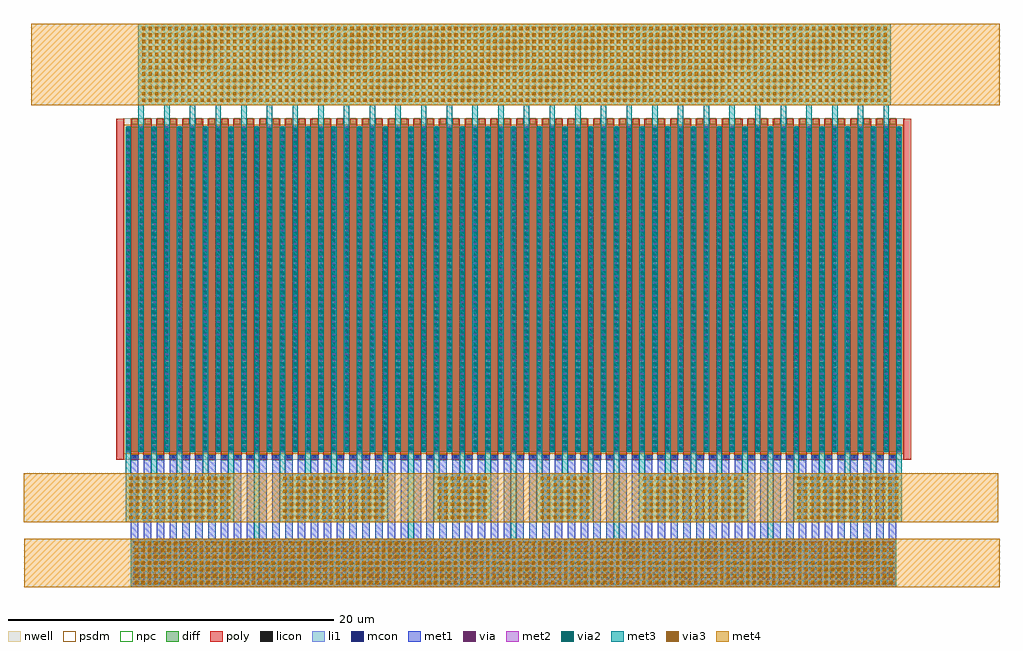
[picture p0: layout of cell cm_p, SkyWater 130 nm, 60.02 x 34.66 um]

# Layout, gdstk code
import gdstk
lib = gdstk.Library(unit=1e-6, precision=1e-09)
def R(c, l, rs):  # rectangles x0, y0, x1, y1
    for r in rs: c.add(gdstk.rectangle(r[:2], r[2:], *l))
def A(c, l, x, y, w, h, nx, ny, dx, dy):  # array of equal rectangles
    R(c, l, [(x+i*dx, y+j*dy, x+i*dx+w, y+j*dy+h) for i in range(nx) for j in range(ny)])
nwell = (64, 20)
diff = (65, 20)
poly = (66, 20)
licon = (66, 44)
li1 = (67, 20)
mcon = (67, 44)
met1 = (68, 20)
via = (68, 44)
met2 = (69, 20)
via2 = (69, 44)
met3 = (70, 20)
via3 = (70, 44)
met4 = (71, 20)
psdm = (94, 20)
npc = (95, 20)

cm_p = lib.new_cell('cm_p')
R(cm_p, nwell, [(0,0,48.05,21)])
R(cm_p, diff, [(0.18,0.5,47.87,20.5)])
A(cm_p, poly, 0.47, 0.015, 0.5, 20.97, 60, 1, 0.79, 0)
R(cm_p, poly, [(-0.42,0.015,0.08,20.985), (47.97,0.015,48.47,20.985)])
A(cm_p, licon, 0.635, 0.095, 0.17, 0.17, 60, 1, 0.79, 0)
A(cm_p, licon, 0.24, 0.725, 0.17, 0.17, 61, 58, 0.79, 0.34)
A(cm_p, li1, 0.47, 0.095, 0.5, 0.17, 60, 1, 0.79, 0)
A(cm_p, li1, 0.24, 0.48, 0.17, 20.04, 61, 1, 0.79, 0)
A(cm_p, mcon, 0.635, 0.095, 0.17, 0.17, 60, 1, 0.79, 0)
A(cm_p, mcon, 0.24, 0.695, 0.17, 0.17, 61, 55, 0.79, 0.36)
A(cm_p, met1, 0.49, -5.984, 0.46, 6.279, 60, 1, 0.79, 0)
A(cm_p, met1, 0.21, 0.5, 0.23, 20, 61, 1, 0.79, 0)
A(cm_p, via, 0.59, -7.685, 0.15, 0.15, 147, 9, 0.32, 0.32)
A(cm_p, via, 0.25, 0.665, 0.15, 0.15, 61, 62, 0.79, 0.32)
A(cm_p, via2, 0.725, -7.63, 0.2, 0.2, 117, 7, 0.4, 0.4)
A(cm_p, via2, 0.225, 0.6, 0.2, 0.2, 61, 50, 0.79, 0.4)
A(cm_p, met3, 0.16, -1.33, 0.33, 1.83, 5, 1, 1.58, 0)
A(cm_p, met3, 9.64, -1.33, 0.33, 1.83, 5, 1, 1.58, 0)
A(cm_p, met3, 19.12, -1.33, 0.33, 1.83, 3, 1, 1.58, 0)
A(cm_p, met3, 25.44, -1.33, 0.33, 1.83, 3, 1, 1.58, 0)
A(cm_p, met3, 31.76, -1.33, 0.33, 1.83, 5, 1, 1.58, 0)
A(cm_p, met3, 41.24, -1.33, 0.33, 1.83, 5, 1, 1.58, 0)
A(cm_p, met3, 0.95, 20.5, 0.33, 1.828, 30, 1, 1.58, 0)
R(cm_p, met3, [(23.86,-7.473,24.19,0.5), (17.54,-7.23,17.87,0.5), (8.06,-7.155,8.39,0.5), (39.66,-7.073,39.99,0.5), (30.18,-6.856,30.51,0.5)])
A(cm_p, via3, 0.725, -7.63, 0.2, 0.2, 117, 7, 0.4, 0.4)
A(cm_p, via3, 0.385, -3.63, 0.2, 0.2, 16, 7, 0.4, 0.4)
A(cm_p, via3, 9.865, -3.63, 0.2, 0.2, 16, 7, 0.4, 0.4)
A(cm_p, via3, 19.365, -3.63, 0.2, 0.2, 8, 7, 0.4, 0.4)
A(cm_p, via3, 25.685, -3.63, 0.2, 0.2, 8, 7, 0.4, 0.4)
A(cm_p, via3, 31.985, -3.63, 0.2, 0.2, 16, 7, 0.4, 0.4)
A(cm_p, via3, 41.465, -3.63, 0.2, 0.2, 16, 7, 0.4, 0.4)
A(cm_p, via3, 1.175, 22.028, 0.2, 0.2, 115, 12, 0.4, 0.4)
R(cm_p, psdm, [(0.055,0.375,47.995,20.625)])
A(cm_p, npc, 0.535, -0.005, 0.37, 0.37, 60, 2, 0.79, 20.64)
cm_p.add(gdstk.FlexPath([(2.695,20.5),(2.695,0.5)], 0.33, ends="flush", simple_path=True, layer=68, datatype=20))  # met1
cm_p.add(gdstk.FlexPath([(4.275,20.5),(4.275,0.5)], 0.33, ends="flush", simple_path=True, layer=68, datatype=20))  # met1
cm_p.add(gdstk.FlexPath([(1.115,20.5),(1.115,0.5)], 0.33, ends="flush", simple_path=True, layer=68, datatype=20))  # met1
cm_p.add(gdstk.FlexPath([(5.855,20.5),(5.855,0.5)], 0.33, ends="flush", simple_path=True, layer=68, datatype=20))  # met1
cm_p.add(gdstk.FlexPath([(7.435,20.5),(7.435,0.5)], 0.33, ends="flush", simple_path=True, layer=68, datatype=20))  # met1
cm_p.add(gdstk.FlexPath([(9.015,20.5),(9.015,0.5)], 0.33, ends="flush", simple_path=True, layer=68, datatype=20))  # met1
cm_p.add(gdstk.FlexPath([(10.595,20.5),(10.595,0.5)], 0.33, ends="flush", simple_path=True, layer=68, datatype=20))  # met1
cm_p.add(gdstk.FlexPath([(12.175,20.5),(12.175,0.5)], 0.33, ends="flush", simple_path=True, layer=68, datatype=20))  # met1
cm_p.add(gdstk.FlexPath([(13.755,20.5),(13.755,0.5)], 0.33, ends="flush", simple_path=True, layer=68, datatype=20))  # met1
cm_p.add(gdstk.FlexPath([(15.335,20.5),(15.335,0.5)], 0.33, ends="flush", simple_path=True, layer=68, datatype=20))  # met1
cm_p.add(gdstk.FlexPath([(16.915,20.5),(16.915,0.5)], 0.33, ends="flush", simple_path=True, layer=68, datatype=20))  # met1
cm_p.add(gdstk.FlexPath([(18.495,20.5),(18.495,0.5)], 0.33, ends="flush", simple_path=True, layer=68, datatype=20))  # met1
cm_p.add(gdstk.FlexPath([(20.075,20.5),(20.075,0.5)], 0.33, ends="flush", simple_path=True, layer=68, datatype=20))  # met1
cm_p.add(gdstk.FlexPath([(21.655,20.5),(21.655,0.5)], 0.33, ends="flush", simple_path=True, layer=68, datatype=20))  # met1
cm_p.add(gdstk.FlexPath([(23.235,20.5),(23.235,0.5)], 0.33, ends="flush", simple_path=True, layer=68, datatype=20))  # met1
cm_p.add(gdstk.FlexPath([(24.815,20.5),(24.815,0.5)], 0.33, ends="flush", simple_path=True, layer=68, datatype=20))  # met1
cm_p.add(gdstk.FlexPath([(26.395,20.5),(26.395,0.5)], 0.33, ends="flush", simple_path=True, layer=68, datatype=20))  # met1
cm_p.add(gdstk.FlexPath([(27.975,20.5),(27.975,0.5)], 0.33, ends="flush", simple_path=True, layer=68, datatype=20))  # met1
cm_p.add(gdstk.FlexPath([(29.555,20.5),(29.555,0.5)], 0.33, ends="flush", simple_path=True, layer=68, datatype=20))  # met1
cm_p.add(gdstk.FlexPath([(31.135,20.5),(31.135,0.5)], 0.33, ends="flush", simple_path=True, layer=68, datatype=20))  # met1
cm_p.add(gdstk.FlexPath([(32.715,20.5),(32.715,0.5)], 0.33, ends="flush", simple_path=True, layer=68, datatype=20))  # met1
cm_p.add(gdstk.FlexPath([(34.295,20.5),(34.295,0.5)], 0.33, ends="flush", simple_path=True, layer=68, datatype=20))  # met1
cm_p.add(gdstk.FlexPath([(35.875,20.5),(35.875,0.5)], 0.33, ends="flush", simple_path=True, layer=68, datatype=20))  # met1
cm_p.add(gdstk.FlexPath([(37.455,20.5),(37.455,0.5)], 0.33, ends="flush", simple_path=True, layer=68, datatype=20))  # met1
cm_p.add(gdstk.FlexPath([(39.035,20.5),(39.035,0.5)], 0.33, ends="flush", simple_path=True, layer=68, datatype=20))  # met1
cm_p.add(gdstk.FlexPath([(40.615,20.5),(40.615,0.5)], 0.33, ends="flush", simple_path=True, layer=68, datatype=20))  # met1
cm_p.add(gdstk.FlexPath([(42.195,20.5),(42.195,0.5)], 0.33, ends="flush", simple_path=True, layer=68, datatype=20))  # met1
cm_p.add(gdstk.FlexPath([(43.775,20.5),(43.775,0.5)], 0.33, ends="flush", simple_path=True, layer=68, datatype=20))  # met1
cm_p.add(gdstk.FlexPath([(45.355,20.5),(45.355,0.5)], 0.33, ends="flush", simple_path=True, layer=68, datatype=20))  # met1
cm_p.add(gdstk.FlexPath([(46.935,20.5),(46.935,0.5)], 0.33, ends="flush", simple_path=True, layer=68, datatype=20))  # met1
cm_p.add(gdstk.FlexPath([(0.325,20.5),(0.325,0.5)], 0.33, ends="flush", simple_path=True, layer=68, datatype=20))  # met1
cm_p.add(gdstk.FlexPath([(1.905,20.5),(1.905,0.5)], 0.33, ends="flush", simple_path=True, layer=68, datatype=20))  # met1
cm_p.add(gdstk.FlexPath([(3.485,20.5),(3.485,0.5)], 0.33, ends="flush", simple_path=True, layer=68, datatype=20))  # met1
cm_p.add(gdstk.FlexPath([(5.065,20.5),(5.065,0.5)], 0.33, ends="flush", simple_path=True, layer=68, datatype=20))  # met1
cm_p.add(gdstk.FlexPath([(6.645,20.5),(6.645,0.5)], 0.33, ends="flush", simple_path=True, layer=68, datatype=20))  # met1
cm_p.add(gdstk.FlexPath([(8.225,20.5),(8.225,0.5)], 0.33, ends="flush", simple_path=True, layer=68, datatype=20))  # met1
cm_p.add(gdstk.FlexPath([(9.805,20.5),(9.805,0.5)], 0.33, ends="flush", simple_path=True, layer=68, datatype=20))  # met1
cm_p.add(gdstk.FlexPath([(11.385,20.5),(11.385,0.5)], 0.33, ends="flush", simple_path=True, layer=68, datatype=20))  # met1
cm_p.add(gdstk.FlexPath([(12.965,20.5),(12.965,0.5)], 0.33, ends="flush", simple_path=True, layer=68, datatype=20))  # met1
cm_p.add(gdstk.FlexPath([(14.545,20.5),(14.545,0.5)], 0.33, ends="flush", simple_path=True, layer=68, datatype=20))  # met1
cm_p.add(gdstk.FlexPath([(16.125,20.5),(16.125,0.5)], 0.33, ends="flush", simple_path=True, layer=68, datatype=20))  # met1
cm_p.add(gdstk.FlexPath([(17.705,20.5),(17.705,0.5)], 0.33, ends="flush", simple_path=True, layer=68, datatype=20))  # met1
cm_p.add(gdstk.FlexPath([(19.285,20.5),(19.285,0.5)], 0.33, ends="flush", simple_path=True, layer=68, datatype=20))  # met1
cm_p.add(gdstk.FlexPath([(20.865,20.5),(20.865,0.5)], 0.33, ends="flush", simple_path=True, layer=68, datatype=20))  # met1
cm_p.add(gdstk.FlexPath([(22.445,20.5),(22.445,0.5)], 0.33, ends="flush", simple_path=True, layer=68, datatype=20))  # met1
cm_p.add(gdstk.FlexPath([(24.025,20.5),(24.025,0.5)], 0.33, ends="flush", simple_path=True, layer=68, datatype=20))  # met1
cm_p.add(gdstk.FlexPath([(25.605,20.5),(25.605,0.5)], 0.33, ends="flush", simple_path=True, layer=68, datatype=20))  # met1
cm_p.add(gdstk.FlexPath([(27.185,20.5),(27.185,0.5)], 0.33, ends="flush", simple_path=True, layer=68, datatype=20))  # met1
cm_p.add(gdstk.FlexPath([(28.765,20.5),(28.765,0.5)], 0.33, ends="flush", simple_path=True, layer=68, datatype=20))  # met1
cm_p.add(gdstk.FlexPath([(30.345,20.5),(30.345,0.5)], 0.33, ends="flush", simple_path=True, layer=68, datatype=20))  # met1
cm_p.add(gdstk.FlexPath([(31.925,20.5),(31.925,0.5)], 0.33, ends="flush", simple_path=True, layer=68, datatype=20))  # met1
cm_p.add(gdstk.FlexPath([(33.505,20.5),(33.505,0.5)], 0.33, ends="flush", simple_path=True, layer=68, datatype=20))  # met1
cm_p.add(gdstk.FlexPath([(35.085,20.5),(35.085,0.5)], 0.33, ends="flush", simple_path=True, layer=68, datatype=20))  # met1
cm_p.add(gdstk.FlexPath([(36.665,20.5),(36.665,0.5)], 0.33, ends="flush", simple_path=True, layer=68, datatype=20))  # met1
cm_p.add(gdstk.FlexPath([(38.245,20.5),(38.245,0.5)], 0.33, ends="flush", simple_path=True, layer=68, datatype=20))  # met1
cm_p.add(gdstk.FlexPath([(39.825,20.5),(39.825,0.5)], 0.33, ends="flush", simple_path=True, layer=68, datatype=20))  # met1
cm_p.add(gdstk.FlexPath([(41.405,20.5),(41.405,0.5)], 0.33, ends="flush", simple_path=True, layer=68, datatype=20))  # met1
cm_p.add(gdstk.FlexPath([(42.985,20.5),(42.985,0.5)], 0.33, ends="flush", simple_path=True, layer=68, datatype=20))  # met1
cm_p.add(gdstk.FlexPath([(44.565,20.5),(44.565,0.5)], 0.33, ends="flush", simple_path=True, layer=68, datatype=20))  # met1
cm_p.add(gdstk.FlexPath([(46.145,20.5),(46.145,0.5)], 0.33, ends="flush", simple_path=True, layer=68, datatype=20))  # met1
cm_p.add(gdstk.FlexPath([(47.725,20.5),(47.725,0.5)], 0.33, ends="flush", simple_path=True, layer=68, datatype=20))  # met1
cm_p.add(gdstk.FlexPath([(0.49,-6.33),(47.56,-6.33)], 3, ends="flush", simple_path=True, layer=68, datatype=20))  # met1
cm_p.add(gdstk.FlexPath([(-5.641,24.328),(53.902,24.328)], 5, ends="flush", simple_path=True, layer=71, datatype=20))  # met4
cm_p.add(gdstk.FlexPath([(0.95,24.328),(47.2,24.328)], 5, ends="flush", simple_path=True, layer=71, datatype=20))  # met4
cm_p.add(gdstk.FlexPath([(-6.119,-2.33),(53.812,-2.33)], 3, ends="flush", simple_path=True, layer=71, datatype=20))  # met4
cm_p.add(gdstk.FlexPath([(0.49,-6.33),(47.56,-6.33)], 3, ends="flush", simple_path=True, layer=71, datatype=20))  # met4
cm_p.add(gdstk.FlexPath([(-6.084,-6.33),(53.902,-6.33)], 3, ends="flush", simple_path=True, layer=71, datatype=20))  # met4
cm_p.add(gdstk.FlexPath([(0.16,-2.33),(6.81,-2.33)], 3, ends="flush", simple_path=True, layer=71, datatype=20))  # met4
cm_p.add(gdstk.FlexPath([(9.64,-2.33),(16.29,-2.33)], 3, ends="flush", simple_path=True, layer=71, datatype=20))  # met4
cm_p.add(gdstk.FlexPath([(19.12,-2.33),(22.61,-2.33)], 3, ends="flush", simple_path=True, layer=71, datatype=20))  # met4
cm_p.add(gdstk.FlexPath([(25.44,-2.33),(28.93,-2.33)], 3, ends="flush", simple_path=True, layer=71, datatype=20))  # met4
cm_p.add(gdstk.FlexPath([(31.76,-2.33),(38.41,-2.33)], 3, ends="flush", simple_path=True, layer=71, datatype=20))  # met4
cm_p.add(gdstk.FlexPath([(41.24,-2.33),(47.89,-2.33)], 3, ends="flush", simple_path=True, layer=71, datatype=20))  # met4
cm_p.add(gdstk.FlexPath([(2.695,20.5),(2.695,0.5)], 0.33, ends="flush", simple_path=True, layer=69, datatype=20))  # met2
cm_p.add(gdstk.FlexPath([(4.275,20.5),(4.275,0.5)], 0.33, ends="flush", simple_path=True, layer=69, datatype=20))  # met2
cm_p.add(gdstk.FlexPath([(1.115,20.5),(1.115,0.5)], 0.33, ends="flush", simple_path=True, layer=69, datatype=20))  # met2
cm_p.add(gdstk.FlexPath([(5.855,20.5),(5.855,0.5)], 0.33, ends="flush", simple_path=True, layer=69, datatype=20))  # met2
cm_p.add(gdstk.FlexPath([(7.435,20.5),(7.435,0.5)], 0.33, ends="flush", simple_path=True, layer=69, datatype=20))  # met2
cm_p.add(gdstk.FlexPath([(9.015,20.5),(9.015,0.5)], 0.33, ends="flush", simple_path=True, layer=69, datatype=20))  # met2
cm_p.add(gdstk.FlexPath([(10.595,20.5),(10.595,0.5)], 0.33, ends="flush", simple_path=True, layer=69, datatype=20))  # met2
cm_p.add(gdstk.FlexPath([(12.175,20.5),(12.175,0.5)], 0.33, ends="flush", simple_path=True, layer=69, datatype=20))  # met2
cm_p.add(gdstk.FlexPath([(13.755,20.5),(13.755,0.5)], 0.33, ends="flush", simple_path=True, layer=69, datatype=20))  # met2
cm_p.add(gdstk.FlexPath([(15.335,20.5),(15.335,0.5)], 0.33, ends="flush", simple_path=True, layer=69, datatype=20))  # met2
cm_p.add(gdstk.FlexPath([(16.915,20.5),(16.915,0.5)], 0.33, ends="flush", simple_path=True, layer=69, datatype=20))  # met2
cm_p.add(gdstk.FlexPath([(18.495,20.5),(18.495,0.5)], 0.33, ends="flush", simple_path=True, layer=69, datatype=20))  # met2
cm_p.add(gdstk.FlexPath([(20.075,20.5),(20.075,0.5)], 0.33, ends="flush", simple_path=True, layer=69, datatype=20))  # met2
cm_p.add(gdstk.FlexPath([(21.655,20.5),(21.655,0.5)], 0.33, ends="flush", simple_path=True, layer=69, datatype=20))  # met2
cm_p.add(gdstk.FlexPath([(23.235,20.5),(23.235,0.5)], 0.33, ends="flush", simple_path=True, layer=69, datatype=20))  # met2
cm_p.add(gdstk.FlexPath([(24.815,20.5),(24.815,0.5)], 0.33, ends="flush", simple_path=True, layer=69, datatype=20))  # met2
cm_p.add(gdstk.FlexPath([(26.395,20.5),(26.395,0.5)], 0.33, ends="flush", simple_path=True, layer=69, datatype=20))  # met2
cm_p.add(gdstk.FlexPath([(27.975,20.5),(27.975,0.5)], 0.33, ends="flush", simple_path=True, layer=69, datatype=20))  # met2
cm_p.add(gdstk.FlexPath([(29.555,20.5),(29.555,0.5)], 0.33, ends="flush", simple_path=True, layer=69, datatype=20))  # met2
cm_p.add(gdstk.FlexPath([(31.135,20.5),(31.135,0.5)], 0.33, ends="flush", simple_path=True, layer=69, datatype=20))  # met2
cm_p.add(gdstk.FlexPath([(32.715,20.5),(32.715,0.5)], 0.33, ends="flush", simple_path=True, layer=69, datatype=20))  # met2
cm_p.add(gdstk.FlexPath([(34.295,20.5),(34.295,0.5)], 0.33, ends="flush", simple_path=True, layer=69, datatype=20))  # met2
cm_p.add(gdstk.FlexPath([(35.875,20.5),(35.875,0.5)], 0.33, ends="flush", simple_path=True, layer=69, datatype=20))  # met2
cm_p.add(gdstk.FlexPath([(37.455,20.5),(37.455,0.5)], 0.33, ends="flush", simple_path=True, layer=69, datatype=20))  # met2
cm_p.add(gdstk.FlexPath([(39.035,20.5),(39.035,0.5)], 0.33, ends="flush", simple_path=True, layer=69, datatype=20))  # met2
cm_p.add(gdstk.FlexPath([(40.615,20.5),(40.615,0.5)], 0.33, ends="flush", simple_path=True, layer=69, datatype=20))  # met2
cm_p.add(gdstk.FlexPath([(42.195,20.5),(42.195,0.5)], 0.33, ends="flush", simple_path=True, layer=69, datatype=20))  # met2
cm_p.add(gdstk.FlexPath([(43.775,20.5),(43.775,0.5)], 0.33, ends="flush", simple_path=True, layer=69, datatype=20))  # met2
cm_p.add(gdstk.FlexPath([(45.355,20.5),(45.355,0.5)], 0.33, ends="flush", simple_path=True, layer=69, datatype=20))  # met2
cm_p.add(gdstk.FlexPath([(46.935,20.5),(46.935,0.5)], 0.33, ends="flush", simple_path=True, layer=69, datatype=20))  # met2
cm_p.add(gdstk.FlexPath([(0.325,20.5),(0.325,0.5)], 0.33, ends="flush", simple_path=True, layer=69, datatype=20))  # met2
cm_p.add(gdstk.FlexPath([(1.905,20.5),(1.905,0.5)], 0.33, ends="flush", simple_path=True, layer=69, datatype=20))  # met2
cm_p.add(gdstk.FlexPath([(3.485,20.5),(3.485,0.5)], 0.33, ends="flush", simple_path=True, layer=69, datatype=20))  # met2
cm_p.add(gdstk.FlexPath([(5.065,20.5),(5.065,0.5)], 0.33, ends="flush", simple_path=True, layer=69, datatype=20))  # met2
cm_p.add(gdstk.FlexPath([(6.645,20.5),(6.645,0.5)], 0.33, ends="flush", simple_path=True, layer=69, datatype=20))  # met2
cm_p.add(gdstk.FlexPath([(8.225,20.5),(8.225,0.5)], 0.33, ends="flush", simple_path=True, layer=69, datatype=20))  # met2
cm_p.add(gdstk.FlexPath([(9.805,20.5),(9.805,0.5)], 0.33, ends="flush", simple_path=True, layer=69, datatype=20))  # met2
cm_p.add(gdstk.FlexPath([(11.385,20.5),(11.385,0.5)], 0.33, ends="flush", simple_path=True, layer=69, datatype=20))  # met2
cm_p.add(gdstk.FlexPath([(12.965,20.5),(12.965,0.5)], 0.33, ends="flush", simple_path=True, layer=69, datatype=20))  # met2
cm_p.add(gdstk.FlexPath([(14.545,20.5),(14.545,0.5)], 0.33, ends="flush", simple_path=True, layer=69, datatype=20))  # met2
cm_p.add(gdstk.FlexPath([(16.125,20.5),(16.125,0.5)], 0.33, ends="flush", simple_path=True, layer=69, datatype=20))  # met2
cm_p.add(gdstk.FlexPath([(17.705,20.5),(17.705,0.5)], 0.33, ends="flush", simple_path=True, layer=69, datatype=20))  # met2
cm_p.add(gdstk.FlexPath([(19.285,20.5),(19.285,0.5)], 0.33, ends="flush", simple_path=True, layer=69, datatype=20))  # met2
cm_p.add(gdstk.FlexPath([(20.865,20.5),(20.865,0.5)], 0.33, ends="flush", simple_path=True, layer=69, datatype=20))  # met2
cm_p.add(gdstk.FlexPath([(22.445,20.5),(22.445,0.5)], 0.33, ends="flush", simple_path=True, layer=69, datatype=20))  # met2
cm_p.add(gdstk.FlexPath([(24.025,20.5),(24.025,0.5)], 0.33, ends="flush", simple_path=True, layer=69, datatype=20))  # met2
cm_p.add(gdstk.FlexPath([(25.605,20.5),(25.605,0.5)], 0.33, ends="flush", simple_path=True, layer=69, datatype=20))  # met2
cm_p.add(gdstk.FlexPath([(27.185,20.5),(27.185,0.5)], 0.33, ends="flush", simple_path=True, layer=69, datatype=20))  # met2
cm_p.add(gdstk.FlexPath([(28.765,20.5),(28.765,0.5)], 0.33, ends="flush", simple_path=True, layer=69, datatype=20))  # met2
cm_p.add(gdstk.FlexPath([(30.345,20.5),(30.345,0.5)], 0.33, ends="flush", simple_path=True, layer=69, datatype=20))  # met2
cm_p.add(gdstk.FlexPath([(31.925,20.5),(31.925,0.5)], 0.33, ends="flush", simple_path=True, layer=69, datatype=20))  # met2
cm_p.add(gdstk.FlexPath([(33.505,20.5),(33.505,0.5)], 0.33, ends="flush", simple_path=True, layer=69, datatype=20))  # met2
cm_p.add(gdstk.FlexPath([(35.085,20.5),(35.085,0.5)], 0.33, ends="flush", simple_path=True, layer=69, datatype=20))  # met2
cm_p.add(gdstk.FlexPath([(36.665,20.5),(36.665,0.5)], 0.33, ends="flush", simple_path=True, layer=69, datatype=20))  # met2
cm_p.add(gdstk.FlexPath([(38.245,20.5),(38.245,0.5)], 0.33, ends="flush", simple_path=True, layer=69, datatype=20))  # met2
cm_p.add(gdstk.FlexPath([(39.825,20.5),(39.825,0.5)], 0.33, ends="flush", simple_path=True, layer=69, datatype=20))  # met2
cm_p.add(gdstk.FlexPath([(41.405,20.5),(41.405,0.5)], 0.33, ends="flush", simple_path=True, layer=69, datatype=20))  # met2
cm_p.add(gdstk.FlexPath([(42.985,20.5),(42.985,0.5)], 0.33, ends="flush", simple_path=True, layer=69, datatype=20))  # met2
cm_p.add(gdstk.FlexPath([(44.565,20.5),(44.565,0.5)], 0.33, ends="flush", simple_path=True, layer=69, datatype=20))  # met2
cm_p.add(gdstk.FlexPath([(46.145,20.5),(46.145,0.5)], 0.33, ends="flush", simple_path=True, layer=69, datatype=20))  # met2
cm_p.add(gdstk.FlexPath([(47.725,20.5),(47.725,0.5)], 0.33, ends="flush", simple_path=True, layer=69, datatype=20))  # met2
cm_p.add(gdstk.FlexPath([(0.49,-6.33),(47.56,-6.33)], 3, ends="flush", simple_path=True, layer=69, datatype=20))  # met2
cm_p.add(gdstk.FlexPath([(2.695,20.5),(2.695,0.5)], 0.33, ends="flush", simple_path=True, layer=70, datatype=20))  # met3
cm_p.add(gdstk.FlexPath([(4.275,20.5),(4.275,0.5)], 0.33, ends="flush", simple_path=True, layer=70, datatype=20))  # met3
cm_p.add(gdstk.FlexPath([(1.115,20.5),(1.115,0.5)], 0.33, ends="flush", simple_path=True, layer=70, datatype=20))  # met3
cm_p.add(gdstk.FlexPath([(5.855,20.5),(5.855,0.5)], 0.33, ends="flush", simple_path=True, layer=70, datatype=20))  # met3
cm_p.add(gdstk.FlexPath([(7.435,20.5),(7.435,0.5)], 0.33, ends="flush", simple_path=True, layer=70, datatype=20))  # met3
cm_p.add(gdstk.FlexPath([(9.015,20.5),(9.015,0.5)], 0.33, ends="flush", simple_path=True, layer=70, datatype=20))  # met3
cm_p.add(gdstk.FlexPath([(10.595,20.5),(10.595,0.5)], 0.33, ends="flush", simple_path=True, layer=70, datatype=20))  # met3
cm_p.add(gdstk.FlexPath([(12.175,20.5),(12.175,0.5)], 0.33, ends="flush", simple_path=True, layer=70, datatype=20))  # met3
cm_p.add(gdstk.FlexPath([(13.755,20.5),(13.755,0.5)], 0.33, ends="flush", simple_path=True, layer=70, datatype=20))  # met3
cm_p.add(gdstk.FlexPath([(15.335,20.5),(15.335,0.5)], 0.33, ends="flush", simple_path=True, layer=70, datatype=20))  # met3
cm_p.add(gdstk.FlexPath([(16.915,20.5),(16.915,0.5)], 0.33, ends="flush", simple_path=True, layer=70, datatype=20))  # met3
cm_p.add(gdstk.FlexPath([(18.495,20.5),(18.495,0.5)], 0.33, ends="flush", simple_path=True, layer=70, datatype=20))  # met3
cm_p.add(gdstk.FlexPath([(20.075,20.5),(20.075,0.5)], 0.33, ends="flush", simple_path=True, layer=70, datatype=20))  # met3
cm_p.add(gdstk.FlexPath([(21.655,20.5),(21.655,0.5)], 0.33, ends="flush", simple_path=True, layer=70, datatype=20))  # met3
cm_p.add(gdstk.FlexPath([(23.235,20.5),(23.235,0.5)], 0.33, ends="flush", simple_path=True, layer=70, datatype=20))  # met3
cm_p.add(gdstk.FlexPath([(24.815,20.5),(24.815,0.5)], 0.33, ends="flush", simple_path=True, layer=70, datatype=20))  # met3
cm_p.add(gdstk.FlexPath([(26.395,20.5),(26.395,0.5)], 0.33, ends="flush", simple_path=True, layer=70, datatype=20))  # met3
cm_p.add(gdstk.FlexPath([(27.975,20.5),(27.975,0.5)], 0.33, ends="flush", simple_path=True, layer=70, datatype=20))  # met3
cm_p.add(gdstk.FlexPath([(29.555,20.5),(29.555,0.5)], 0.33, ends="flush", simple_path=True, layer=70, datatype=20))  # met3
cm_p.add(gdstk.FlexPath([(31.135,20.5),(31.135,0.5)], 0.33, ends="flush", simple_path=True, layer=70, datatype=20))  # met3
cm_p.add(gdstk.FlexPath([(32.715,20.5),(32.715,0.5)], 0.33, ends="flush", simple_path=True, layer=70, datatype=20))  # met3
cm_p.add(gdstk.FlexPath([(34.295,20.5),(34.295,0.5)], 0.33, ends="flush", simple_path=True, layer=70, datatype=20))  # met3
cm_p.add(gdstk.FlexPath([(35.875,20.5),(35.875,0.5)], 0.33, ends="flush", simple_path=True, layer=70, datatype=20))  # met3
cm_p.add(gdstk.FlexPath([(37.455,20.5),(37.455,0.5)], 0.33, ends="flush", simple_path=True, layer=70, datatype=20))  # met3
cm_p.add(gdstk.FlexPath([(39.035,20.5),(39.035,0.5)], 0.33, ends="flush", simple_path=True, layer=70, datatype=20))  # met3
cm_p.add(gdstk.FlexPath([(40.615,20.5),(40.615,0.5)], 0.33, ends="flush", simple_path=True, layer=70, datatype=20))  # met3
cm_p.add(gdstk.FlexPath([(42.195,20.5),(42.195,0.5)], 0.33, ends="flush", simple_path=True, layer=70, datatype=20))  # met3
cm_p.add(gdstk.FlexPath([(43.775,20.5),(43.775,0.5)], 0.33, ends="flush", simple_path=True, layer=70, datatype=20))  # met3
cm_p.add(gdstk.FlexPath([(45.355,20.5),(45.355,0.5)], 0.33, ends="flush", simple_path=True, layer=70, datatype=20))  # met3
cm_p.add(gdstk.FlexPath([(46.935,20.5),(46.935,0.5)], 0.33, ends="flush", simple_path=True, layer=70, datatype=20))  # met3
cm_p.add(gdstk.FlexPath([(0.325,20.5),(0.325,0.5)], 0.33, ends="flush", simple_path=True, layer=70, datatype=20))  # met3
cm_p.add(gdstk.FlexPath([(1.905,20.5),(1.905,0.5)], 0.33, ends="flush", simple_path=True, layer=70, datatype=20))  # met3
cm_p.add(gdstk.FlexPath([(3.485,20.5),(3.485,0.5)], 0.33, ends="flush", simple_path=True, layer=70, datatype=20))  # met3
cm_p.add(gdstk.FlexPath([(5.065,20.5),(5.065,0.5)], 0.33, ends="flush", simple_path=True, layer=70, datatype=20))  # met3
cm_p.add(gdstk.FlexPath([(6.645,20.5),(6.645,0.5)], 0.33, ends="flush", simple_path=True, layer=70, datatype=20))  # met3
cm_p.add(gdstk.FlexPath([(8.225,20.5),(8.225,0.5)], 0.33, ends="flush", simple_path=True, layer=70, datatype=20))  # met3
cm_p.add(gdstk.FlexPath([(9.805,20.5),(9.805,0.5)], 0.33, ends="flush", simple_path=True, layer=70, datatype=20))  # met3
cm_p.add(gdstk.FlexPath([(11.385,20.5),(11.385,0.5)], 0.33, ends="flush", simple_path=True, layer=70, datatype=20))  # met3
cm_p.add(gdstk.FlexPath([(12.965,20.5),(12.965,0.5)], 0.33, ends="flush", simple_path=True, layer=70, datatype=20))  # met3
cm_p.add(gdstk.FlexPath([(14.545,20.5),(14.545,0.5)], 0.33, ends="flush", simple_path=True, layer=70, datatype=20))  # met3
cm_p.add(gdstk.FlexPath([(16.125,20.5),(16.125,0.5)], 0.33, ends="flush", simple_path=True, layer=70, datatype=20))  # met3
cm_p.add(gdstk.FlexPath([(17.705,20.5),(17.705,0.5)], 0.33, ends="flush", simple_path=True, layer=70, datatype=20))  # met3
cm_p.add(gdstk.FlexPath([(19.285,20.5),(19.285,0.5)], 0.33, ends="flush", simple_path=True, layer=70, datatype=20))  # met3
cm_p.add(gdstk.FlexPath([(20.865,20.5),(20.865,0.5)], 0.33, ends="flush", simple_path=True, layer=70, datatype=20))  # met3
cm_p.add(gdstk.FlexPath([(22.445,20.5),(22.445,0.5)], 0.33, ends="flush", simple_path=True, layer=70, datatype=20))  # met3
cm_p.add(gdstk.FlexPath([(24.025,20.5),(24.025,0.5)], 0.33, ends="flush", simple_path=True, layer=70, datatype=20))  # met3
cm_p.add(gdstk.FlexPath([(25.605,20.5),(25.605,0.5)], 0.33, ends="flush", simple_path=True, layer=70, datatype=20))  # met3
cm_p.add(gdstk.FlexPath([(27.185,20.5),(27.185,0.5)], 0.33, ends="flush", simple_path=True, layer=70, datatype=20))  # met3
cm_p.add(gdstk.FlexPath([(28.765,20.5),(28.765,0.5)], 0.33, ends="flush", simple_path=True, layer=70, datatype=20))  # met3
cm_p.add(gdstk.FlexPath([(30.345,20.5),(30.345,0.5)], 0.33, ends="flush", simple_path=True, layer=70, datatype=20))  # met3
cm_p.add(gdstk.FlexPath([(31.925,20.5),(31.925,0.5)], 0.33, ends="flush", simple_path=True, layer=70, datatype=20))  # met3
cm_p.add(gdstk.FlexPath([(33.505,20.5),(33.505,0.5)], 0.33, ends="flush", simple_path=True, layer=70, datatype=20))  # met3
cm_p.add(gdstk.FlexPath([(35.085,20.5),(35.085,0.5)], 0.33, ends="flush", simple_path=True, layer=70, datatype=20))  # met3
cm_p.add(gdstk.FlexPath([(36.665,20.5),(36.665,0.5)], 0.33, ends="flush", simple_path=True, layer=70, datatype=20))  # met3
cm_p.add(gdstk.FlexPath([(38.245,20.5),(38.245,0.5)], 0.33, ends="flush", simple_path=True, layer=70, datatype=20))  # met3
cm_p.add(gdstk.FlexPath([(39.825,20.5),(39.825,0.5)], 0.33, ends="flush", simple_path=True, layer=70, datatype=20))  # met3
cm_p.add(gdstk.FlexPath([(41.405,20.5),(41.405,0.5)], 0.33, ends="flush", simple_path=True, layer=70, datatype=20))  # met3
cm_p.add(gdstk.FlexPath([(42.985,20.5),(42.985,0.5)], 0.33, ends="flush", simple_path=True, layer=70, datatype=20))  # met3
cm_p.add(gdstk.FlexPath([(44.565,20.5),(44.565,0.5)], 0.33, ends="flush", simple_path=True, layer=70, datatype=20))  # met3
cm_p.add(gdstk.FlexPath([(46.145,20.5),(46.145,0.5)], 0.33, ends="flush", simple_path=True, layer=70, datatype=20))  # met3
cm_p.add(gdstk.FlexPath([(47.725,20.5),(47.725,0.5)], 0.33, ends="flush", simple_path=True, layer=70, datatype=20))  # met3
cm_p.add(gdstk.FlexPath([(0.95,24.328),(47.2,24.328)], 5, ends="flush", simple_path=True, layer=70, datatype=20))  # met3
cm_p.add(gdstk.FlexPath([(0.49,-6.33),(47.56,-6.33)], 3, ends="flush", simple_path=True, layer=70, datatype=20))  # met3
cm_p.add(gdstk.FlexPath([(0.16,-2.33),(6.81,-2.33)], 3, ends="flush", simple_path=True, layer=70, datatype=20))  # met3
cm_p.add(gdstk.FlexPath([(9.64,-2.33),(16.29,-2.33)], 3, ends="flush", simple_path=True, layer=70, datatype=20))  # met3
cm_p.add(gdstk.FlexPath([(19.12,-2.33),(22.61,-2.33)], 3, ends="flush", simple_path=True, layer=70, datatype=20))  # met3
cm_p.add(gdstk.FlexPath([(25.44,-2.33),(28.93,-2.33)], 3, ends="flush", simple_path=True, layer=70, datatype=20))  # met3
cm_p.add(gdstk.FlexPath([(31.76,-2.33),(38.41,-2.33)], 3, ends="flush", simple_path=True, layer=70, datatype=20))  # met3
cm_p.add(gdstk.FlexPath([(41.24,-2.33),(47.89,-2.33)], 3, ends="flush", simple_path=True, layer=70, datatype=20))  # met3
cm_p.add(gdstk.Label('S', (-10.537,24.832), layer=69, texttype=44))
cm_p.add(gdstk.Label('DA', (-8.98,-7.055), layer=69, texttype=44))
cm_p.add(gdstk.Label('DB', (-8.613,-2.932), layer=69, texttype=44))

lib.write_gds('cm_p.gds')
